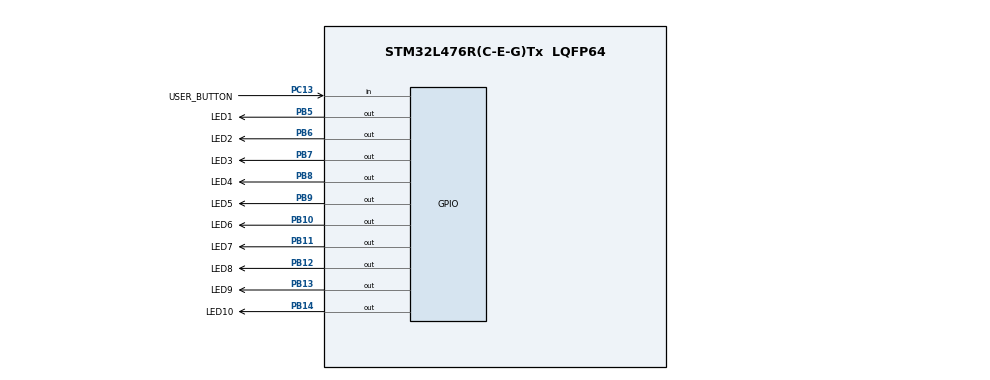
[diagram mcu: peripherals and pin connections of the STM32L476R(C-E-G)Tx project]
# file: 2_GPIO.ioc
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Mcu.Family=STM32L4
Mcu.Name=STM32L476R(C-E-G)Tx
Mcu.Package=LQFP64
NVIC.PriorityGroup=NVIC_PRIORITYGROUP_4
PB10.GPIO_Label=LED6
PB10.Signal=GPIO_Output
PB11.GPIO_Label=LED7
PB11.Signal=GPIO_Output
PB12.GPIO_Label=LED8
PB12.Signal=GPIO_Output
PB13.GPIO_Label=LED9
PB13.Signal=GPIO_Output
PB14.GPIO_Label=LED10
PB14.Signal=GPIO_Output
PB5.GPIO_Label=LED1
PB5.Signal=GPIO_Output
PB6.GPIO_Label=LED2
PB6.Signal=GPIO_Output
PB7.GPIO_Label=LED3
PB7.Signal=GPIO_Output
PB8.GPIO_Label=LED4
PB8.Signal=GPIO_Output
PB9.GPIO_Label=LED5
PB9.Signal=GPIO_Output
PC13.GPIO_Label=USER_BUTTON
PC13.Signal=GPIO_Input
ProjectManager.HeapSize=0x200
ProjectManager.StackSize=0x400
ProjectManager.TargetToolchain=STM32CubeIDE
RCC.HSE_VALUE=8000000
RCC.HSI_VALUE=16000000
RCC.LSE_VALUE=32768
RCC.MSI_VALUE=4000000
RCC.VCOOutputFreq_Value=32000000
board=custom

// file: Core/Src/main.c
/* USER CODE BEGIN Header */
/**
 ******************************************************************************
 * @file           : main.c
 * @brief          : Main program body
 ******************************************************************************
 * @attention
 *
 * Copyright (c) 2023 STMicroelectronics.
 * All rights reserved.
 *
 * This software is licensed under terms that can be found in the LICENSE file
 * in the root directory of this software component.
 * If no LICENSE file comes with this software, it is provided AS-IS.
 *
 ******************************************************************************
 */
/* USER CODE END Header */
#include "main.h"
/* USER CODE BEGIN Includes */
#include <stdbool.h>
/* USER CODE END Includes */

/* USER CODE BEGIN PV */

static const uint16_t LED_PIN[] = {
	    LED1_Pin, LED2_Pin, LED3_Pin, LED4_Pin, LED5_Pin,
	    LED6_Pin, LED7_Pin, LED8_Pin, LED9_Pin, LED10_Pin,
	};

static GPIO_TypeDef* const LED_PORT[] = {
		LED1_GPIO_Port, LED2_GPIO_Port, LED3_GPIO_Port, LED4_GPIO_Port, LED5_GPIO_Port,
		LED6_GPIO_Port, LED7_GPIO_Port, LED8_GPIO_Port, LED9_GPIO_Port, LED10_GPIO_Port,
};

typedef struct{
	GPIO_TypeDef* port;
	uint16_t pin;
}pin_t;

static const pin_t LED[] = {
		{LED1_GPIO_Port, LED1_Pin},
		{LED2_GPIO_Port, LED2_Pin},
		{LED3_GPIO_Port, LED3_Pin},
		{LED4_GPIO_Port, LED4_Pin},
		{LED5_GPIO_Port, LED5_Pin},
		{LED6_GPIO_Port, LED6_Pin},
		{LED7_GPIO_Port, LED7_Pin},
		{LED8_GPIO_Port, LED8_Pin},
		{LED9_GPIO_Port, LED9_Pin},
		{LED10_GPIO_Port, LED10_Pin},
};

/* USER CODE END PV */

void SystemClock_Config(void);
static void MX_GPIO_Init(void);

/* USER CODE BEGIN 0 */

void set_led_int(int led, bool turn_on){
	GPIO_PinState state;
	if (turn_on){
		state = GPIO_PIN_SET;
	}else{
		state = GPIO_PIN_RESET;
	}
	if (led >= 0 && led < 10){
		HAL_GPIO_WritePin(LED1_GPIO_Port, LED1_Pin << led, state);
	}
}

void set_led_switch(int led, bool turn_on)
{
	GPIO_PinState state = (turn_on) ? GPIO_PIN_SET : GPIO_PIN_RESET;

	switch (led) {
	case 0:
		HAL_GPIO_WritePin(LED1_GPIO_Port, LED1_Pin, state);
		break;
	case 1:
		HAL_GPIO_WritePin(LED2_GPIO_Port, LED2_Pin, state);
		break;
	case 2:
		HAL_GPIO_WritePin(LED3_GPIO_Port, LED3_Pin, state);
		break;
	case 3:
		HAL_GPIO_WritePin(LED4_GPIO_Port, LED4_Pin, state);
		break;
	case 4:
		HAL_GPIO_WritePin(LED5_GPIO_Port, LED5_Pin, state);
		break;
	case 5:
		HAL_GPIO_WritePin(LED6_GPIO_Port, LED6_Pin, state);
		break;
	case 6:
		HAL_GPIO_WritePin(LED7_GPIO_Port, LED7_Pin, state);
		break;
	case 7:
		HAL_GPIO_WritePin(LED8_GPIO_Port, LED8_Pin, state);
		break;
	case 8:
		HAL_GPIO_WritePin(LED9_GPIO_Port, LED9_Pin, state);
		break;
	case 9:
		HAL_GPIO_WritePin(LED10_GPIO_Port, LED10_Pin, state);
		break;
	default:
		break;
	}
}

void set_led_list(int led, bool turn_on){
	GPIO_PinState state = (turn_on) ? GPIO_PIN_SET : GPIO_PIN_RESET;
	if (led >=0 && led<10){
		HAL_GPIO_WritePin(LED_PORT[led], LED_PIN[led], state);
	}else{
		HAL_GPIO_WritePin(LED1_GPIO_Port, LED1_Pin, state);
	}
}

void set_led_struct(int led, bool turn_on){
	GPIO_PinState state = (turn_on) ? GPIO_PIN_SET : GPIO_PIN_RESET;
	if (led >=0 && led<10){
		HAL_GPIO_WritePin(LED[led].port, LED[led].pin, state);
	}else{
		HAL_GPIO_WritePin(LED1_GPIO_Port, LED1_Pin, state);
	}
}

bool is_button_pressed(void){
	if (HAL_GPIO_ReadPin(USER_BUTTON_GPIO_Port, USER_BUTTON_Pin) == GPIO_PIN_RESET){
		return true;
	}else{
		return false;
	}
}

/* USER CODE END 0 */

int main(void)
{

  /* MCU Configuration--------------------------------------------------------*/

  /* Reset of all peripherals, Initializes the Flash interface and the Systick. */
  HAL_Init();

  /* Configure the system clock */
  SystemClock_Config();

  /* Initialize all configured peripherals */
  MX_GPIO_Init();

  /* Infinite loop */
  /* USER CODE BEGIN WHILE */
	while (1) {
		if (is_button_pressed()){
			set_led_int(0, true);
		}else{
			set_led_int(0, false);
		}

    /* USER CODE END WHILE */

	}
}

void SystemClock_Config(void)
{
  RCC_OscInitTypeDef RCC_OscInitStruct = {0};
  RCC_ClkInitTypeDef RCC_ClkInitStruct = {0};

  /** Configure the main internal regulator output voltage
  */
  if (HAL_PWREx_ControlVoltageScaling(PWR_REGULATOR_VOLTAGE_SCALE1) != HAL_OK)
  {
    Error_Handler();
  }

  /** Initializes the RCC Oscillators according to the specified parameters
  * in the RCC_OscInitTypeDef structure.
  */
  RCC_OscInitStruct.OscillatorType = RCC_OSCILLATORTYPE_MSI;
  RCC_OscInitStruct.MSIState = RCC_MSI_ON;
  RCC_OscInitStruct.MSICalibrationValue = 0;
  RCC_OscInitStruct.MSIClockRange = RCC_MSIRANGE_6;
  RCC_OscInitStruct.PLL.PLLState = RCC_PLL_NONE;
  if (HAL_RCC_OscConfig(&RCC_OscInitStruct) != HAL_OK)
  {
    Error_Handler();
  }

  /** Initializes the CPU, AHB and APB buses clocks
  */
  RCC_ClkInitStruct.ClockType = RCC_CLOCKTYPE_HCLK|RCC_CLOCKTYPE_SYSCLK
                              |RCC_CLOCKTYPE_PCLK1|RCC_CLOCKTYPE_PCLK2;
  RCC_ClkInitStruct.SYSCLKSource = RCC_SYSCLKSOURCE_MSI;
  RCC_ClkInitStruct.AHBCLKDivider = RCC_SYSCLK_DIV1;
  RCC_ClkInitStruct.APB1CLKDivider = RCC_HCLK_DIV1;
  RCC_ClkInitStruct.APB2CLKDivider = RCC_HCLK_DIV1;

  if (HAL_RCC_ClockConfig(&RCC_ClkInitStruct, FLASH_LATENCY_0) != HAL_OK)
  {
    Error_Handler();
  }
}

static void MX_GPIO_Init(void)
{
  GPIO_InitTypeDef GPIO_InitStruct = {0};

  /* GPIO Ports Clock Enable */
  __HAL_RCC_GPIOC_CLK_ENABLE();
  __HAL_RCC_GPIOB_CLK_ENABLE();

  /*Configure GPIO pin Output Level */
  HAL_GPIO_WritePin(GPIOB, LED6_Pin|LED7_Pin|LED8_Pin|LED9_Pin
                          |LED10_Pin|LED1_Pin|LED2_Pin|LED3_Pin
                          |LED4_Pin|LED5_Pin, GPIO_PIN_RESET);

  /*Configure GPIO pin : USER_BUTTON_Pin */
  GPIO_InitStruct.Pin = USER_BUTTON_Pin;
  GPIO_InitStruct.Mode = GPIO_MODE_INPUT;
  GPIO_InitStruct.Pull = GPIO_NOPULL;
  HAL_GPIO_Init(USER_BUTTON_GPIO_Port, &GPIO_InitStruct);

  /*Configure GPIO pins : LED6_Pin LED7_Pin LED8_Pin LED9_Pin
                           LED10_Pin LED1_Pin LED2_Pin LED3_Pin
                           LED4_Pin LED5_Pin */
  GPIO_InitStruct.Pin = LED6_Pin|LED7_Pin|LED8_Pin|LED9_Pin
                          |LED10_Pin|LED1_Pin|LED2_Pin|LED3_Pin
                          |LED4_Pin|LED5_Pin;
  GPIO_InitStruct.Mode = GPIO_MODE_OUTPUT_PP;
  GPIO_InitStruct.Pull = GPIO_NOPULL;
  GPIO_InitStruct.Speed = GPIO_SPEED_FREQ_LOW;
  HAL_GPIO_Init(GPIOB, &GPIO_InitStruct);

}

void Error_Handler(void)
{
	__disable_irq();
	while (1) {
	}
}
